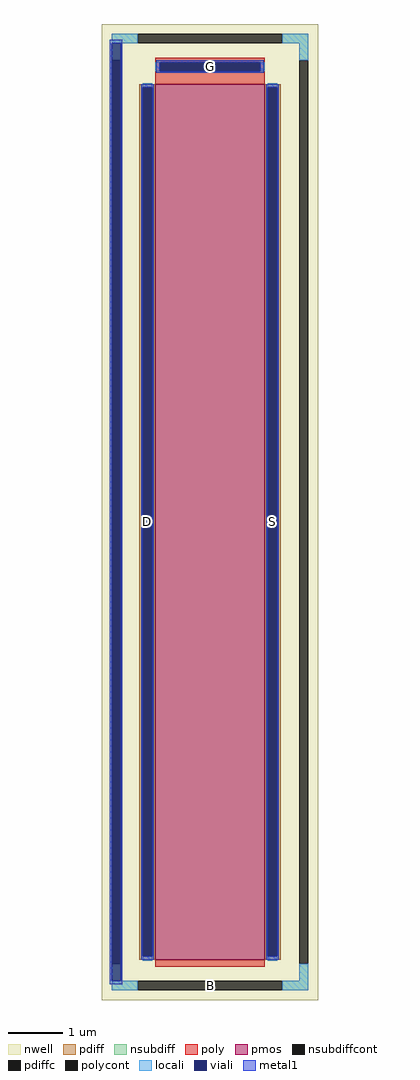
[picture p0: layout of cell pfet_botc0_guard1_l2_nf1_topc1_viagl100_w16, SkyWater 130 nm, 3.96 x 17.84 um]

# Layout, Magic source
magic
tech sky130A
magscale 1 2
<< nwell >>
rect -396 -1784 396 1784
<< pmos >>
rect -200 -1636 200 1564
<< pdiff >>
rect -258 1552 -200 1564
rect -258 -1624 -246 1552
rect -212 -1624 -200 1552
rect -258 -1636 -200 -1624
rect 200 1552 258 1564
rect 200 -1624 212 1552
rect 246 -1624 258 1552
rect 200 -1636 258 -1624
<< pdiffc >>
rect -246 -1624 -212 1552
rect 212 -1624 246 1552
<< nsubdiff >>
rect -360 1714 -264 1748
rect 264 1714 360 1748
rect -360 1651 -326 1714
rect 326 1651 360 1714
rect -360 -1714 -326 -1651
rect 326 -1714 360 -1651
rect -360 -1748 -264 -1714
rect 264 -1748 360 -1714
<< nsubdiffcont >>
rect -264 1714 264 1748
rect -360 -1651 -326 1651
rect 326 -1651 360 1651
rect -264 -1748 264 -1714
<< poly >>
rect -200 1645 200 1661
rect -200 1611 -184 1645
rect 184 1611 200 1645
rect -200 1564 200 1611
rect -200 -1662 200 -1636
<< polycont >>
rect -184 1611 184 1645
<< locali >>
rect -360 1714 -264 1748
rect 264 1714 360 1748
rect 326 1651 360 1714
rect -200 1611 -184 1645
rect 184 1611 200 1645
rect -246 1552 -212 1568
rect -246 -1640 -212 -1624
rect 212 1552 246 1568
rect 212 -1640 246 -1624
rect 326 -1714 360 -1651
rect -360 -1748 -264 -1714
rect 264 -1748 360 -1714
<< viali >>
rect -360 1651 -326 1714
rect -360 -1651 -326 1651
rect -184 1611 184 1645
rect -246 -1624 -212 1552
rect 212 -1624 246 1552
rect -360 -1714 -326 -1651
<< metal1 >>
rect -366 1714 -320 1726
rect -366 -1714 -360 1714
rect -326 -1714 -320 1714
rect -196 1645 196 1651
rect -196 1611 -184 1645
rect 184 1611 196 1645
rect -196 1605 196 1611
rect -252 1552 -206 1564
rect -252 -1624 -246 1552
rect -212 -1624 -206 1552
rect -252 -1636 -206 -1624
rect 206 1552 252 1564
rect 206 -1624 212 1552
rect 246 -1624 252 1552
rect 206 -1636 252 -1624
rect -366 -1726 -320 -1714
<< labels >>
rlabel nsubdiffcont 0 -1731 0 -1731 0 B
port 1 nsew
rlabel pdiffc -229 -36 -229 -36 0 D
port 2 nsew
rlabel pdiffc 229 -36 229 -36 0 S
port 3 nsew
rlabel polycont 0 1628 0 1628 0 G
port 4 nsew
<< properties >>
string FIXED_BBOX -343 -1731 343 1731
string gencell sky130_fd_pr__pfet_01v8
string library sky130
string parameters w 16 l 2 m 1 nf 1 diffcov 100 polycov 100 guard 1 glc 1 grc 1 gtc 1 gbc 1 tbcov 100 rlcov 100 topc 1 botc 0 poverlap 0 doverlap 1 lmin 0.15 wmin 0.42 class mosfet compatible {sky130_fd_pr__pfet_01v8  sky130_fd_pr__pfet_01v8_lvt sky130_fd_pr__pfet_01v8_hvt  sky130_fd_pr__pfet_g5v0d10v5} full_metal 1 conn_gates 0 viasrc 100 viadrn 100 viagate 100 viagb 0 viagr 0 viagl 100 viagt 0 doports 1
<< end >>
